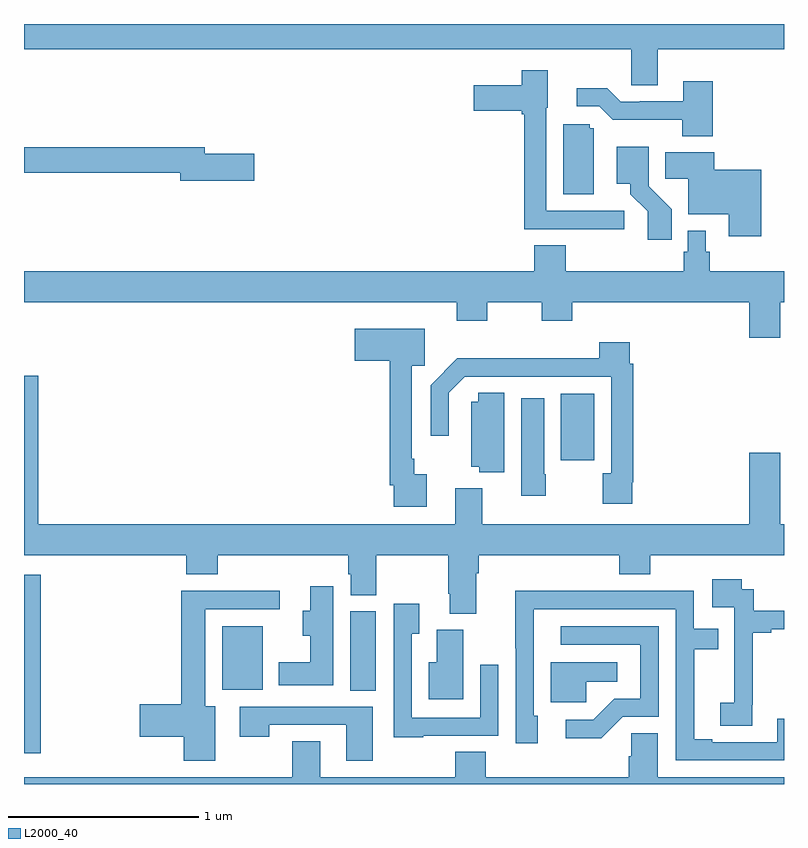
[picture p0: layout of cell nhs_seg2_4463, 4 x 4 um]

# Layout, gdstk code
import gdstk
lib = gdstk.Library(unit=1e-6, precision=1e-09)
def R(c, l, rs):  # rectangles x0, y0, x1, y1
    for r in rs: c.add(gdstk.rectangle(r[:2], r[2:], *l))
def P(c, l, *ps):  # polygons
    for p in ps: c.add(gdstk.Polygon(p, *l))
L2000_40 = (2000, 40)

nhs_seg2_4463 = lib.new_cell('nhs_seg2_4463')
R(nhs_seg2_4463, L2000_40, [(353,611.961,353.087,612.901), (354.716,612.292,354.85,612.708), (354.044,612.296,354.256,612.631)])
P(nhs_seg2_4463, L2000_40, [(356.335,615.668),(357,615.668),(357,615.8),(353,615.8),(353,615.668),(356.196,615.668),(356.196,615.478),(356.335,615.478)],
  [(356.158,614.817),(355.749,614.817),(355.749,615.36),(355.756,615.36),(355.756,615.556),(355.62,615.556),(355.62,615.478),(355.368,615.478),(355.368,615.344),(355.62,615.344),(355.62,615.326),(355.633,615.326),(355.633,614.721),(355.933,614.721),(355.933,614.719),(356.158,614.719)],
  [(356.624,615.499),(356.471,615.499),(356.471,615.393),(356.242,615.393),(356.242,615.39),(356.142,615.39),(356.069,615.463),(355.908,615.463),(355.908,615.366),(356.028,615.366),(356.099,615.296),(356.464,615.296),(356.464,615.209),(356.624,615.209)],
  [(355.999,615.252),(355.977,615.252),(355.977,615.273),(355.838,615.273),(355.838,614.904),(355.999,614.904)],
  [(356.408,614.826),(356.289,614.945),(356.289,615.154),(356.12,615.154),(356.12,614.96),(356.192,614.96),(356.192,614.905),(356.283,614.815),(356.283,614.664),(356.408,614.664)],
  [(354.211,615.116),(353.95,615.116),(353.95,615.152),(353,615.152),(353,615.016),(353.822,615.016),(353.822,614.974),(354.211,614.974)],
  [(356.879,615.034),(356.632,615.034),(356.632,615.124),(356.374,615.124),(356.374,614.986),(356.495,614.986),(356.495,614.798),(356.708,614.798),(356.708,614.682),(356.879,614.682)],
  [(356.98,614.336),(357,614.336),(357,614.5),(356.609,614.5),(356.609,614.601),(356.589,614.601),(356.589,614.713),(356.493,614.713),(356.493,614.601),(356.473,614.601),(356.473,614.5),(355.85,614.5),(355.85,614.636),(355.685,614.636),(355.685,614.5),(353,614.5),(353,614.336),(355.277,614.336),(355.277,614.237),(355.437,614.237),(355.437,614.336),(355.726,614.336),(355.726,614.237),(355.886,614.237),(355.886,614.336),(356.816,614.336),(356.816,614.148),(356.98,614.148)],
  [(355.12,613.43),(355.054,613.43),(355.054,613.513),(355.041,613.513),(355.041,614.001),(355.11,614.001),(355.11,614.197),(354.741,614.197),(354.741,614.027),(354.925,614.027),(354.925,613.372),(354.945,613.372),(354.945,613.26),(355.12,613.26)],
  [(356.2,613.387),(356.207,613.387),(356.207,614.012),(356.188,614.012),(356.188,614.125),(356.027,614.125),(356.027,614.042),(355.281,614.042),(355.14,613.9),(355.14,613.632),(355.236,613.632),(355.236,613.86),(355.32,613.944),(356.091,613.944),(356.091,613.435),(356.045,613.435),(356.045,613.275),(356.2,613.275)],
  [(355.381,612.908),(355.394,612.908),(355.394,613.004),(356.132,613.004),(356.132,612.905),(356.297,612.905),(356.297,613.004),(357,613.004),(357,613.168),(356.98,613.168),(356.98,613.543),(356.816,613.543),(356.816,613.168),(355.411,613.168),(355.411,613.357),(355.271,613.357),(355.271,613.168),(353.075,613.168),(353.075,613.948),(353,613.948),(353,613.004),(353.855,613.004),(353.855,612.905),(354.02,612.905),(354.02,613.004),(354.707,613.004),(354.707,612.903),(354.719,612.903),(354.719,612.793),(354.855,612.793),(354.855,613.004),(355.234,613.004),(355.234,612.802),(355.241,612.802),(355.241,612.697),(355.381,612.697)],
  [(355.528,613.859),(355.392,613.859),(355.392,613.812),(355.355,613.812),(355.355,613.469),(355.395,613.469),(355.395,613.442),(355.528,613.442)],
  [(356.001,613.606),(356.002,613.606),(356.002,613.855),(355.826,613.855),(355.826,613.503),(356.001,613.503)],
  [(355.746,613.429),(355.738,613.429),(355.738,613.831),(355.616,613.831),(355.616,613.317),(355.746,613.317)],
  [(356.834,612.217),(356.836,612.217),(356.836,612.595),(356.932,612.595),(356.932,612.615),(357,612.615),(357,612.711),(356.84,612.711),(356.84,612.825),(356.778,612.825),(356.778,612.877),(356.622,612.877),(356.622,612.729),(356.739,612.729),(356.739,612.425),(356.738,612.425),(356.738,612.228),(356.664,612.228),(356.664,612.106),(356.834,612.106)],
  [(354.628,612.841),(354.506,612.841),(354.506,612.711),(354.467,612.711),(354.467,612.581),(354.506,612.581),(354.506,612.442),(354.341,612.442),(354.341,612.32),(354.628,612.32)],
  [(354.007,612.208),(353.953,612.208),(353.953,612.72),(354.346,612.72),(354.346,612.818),(353.828,612.818),(353.828,612.221),(353.61,612.221),(353.61,612.05),(353.84,612.05),(353.84,611.922),(354.007,611.922)],
  [(357,612.144),(356.964,612.144),(356.964,612.021),(356.623,612.021),(356.623,612.036),(356.527,612.036),(356.527,612.51),(356.654,612.51),(356.654,612.618),(356.526,612.618),(356.526,612.816),(356.048,612.816),(356.048,612.818),(355.586,612.818),(355.586,612.514),(355.587,612.514),(355.587,612.015),(355.705,612.015),(355.705,612.159),(355.683,612.159),(355.683,612.72),(356.43,612.72),(356.43,611.925),(357,611.925)],
  [(355.101,612.054),(355.497,612.054),(355.497,612.427),(355.401,612.427),(355.401,612.15),(355.041,612.15),(355.041,612.592),(355.081,612.592),(355.081,612.748),(354.945,612.748),(354.945,612.047),(355.101,612.047)],
  [(356.151,612.153),(356.34,612.153),(356.34,612.63),(355.824,612.63),(355.824,612.534),(356.244,612.534),(356.244,612.249),(356.106,612.249),(355.995,612.138),(355.851,612.138),(355.851,612.041),(356.038,612.041)],
  [(355.312,612.612),(355.172,612.612),(355.172,612.442),(355.13,612.442),(355.13,612.245),(355.312,612.245)],
  [(355.959,612.338),(356.122,612.338),(356.122,612.442),(355.772,612.442),(355.772,612.231),(355.959,612.231)],
  [(354.835,612.207),(354.135,612.207),(354.135,612.048),(354.291,612.048),(354.291,612.111),(354.695,612.111),(354.695,611.922),(354.835,611.922)],
  [(357,611.836),(356.335,611.836),(356.335,612.068),(356.196,612.068),(356.196,611.945),(356.183,611.945),(356.183,611.836),(355.43,611.836),(355.43,611.969),(355.27,611.969),(355.27,611.836),(354.559,611.836),(354.559,612.026),(354.412,612.026),(354.412,611.836),(353,611.836),(353,611.8),(357,611.8)])

lib.write_gds('nhs_seg2_4463.gds')
